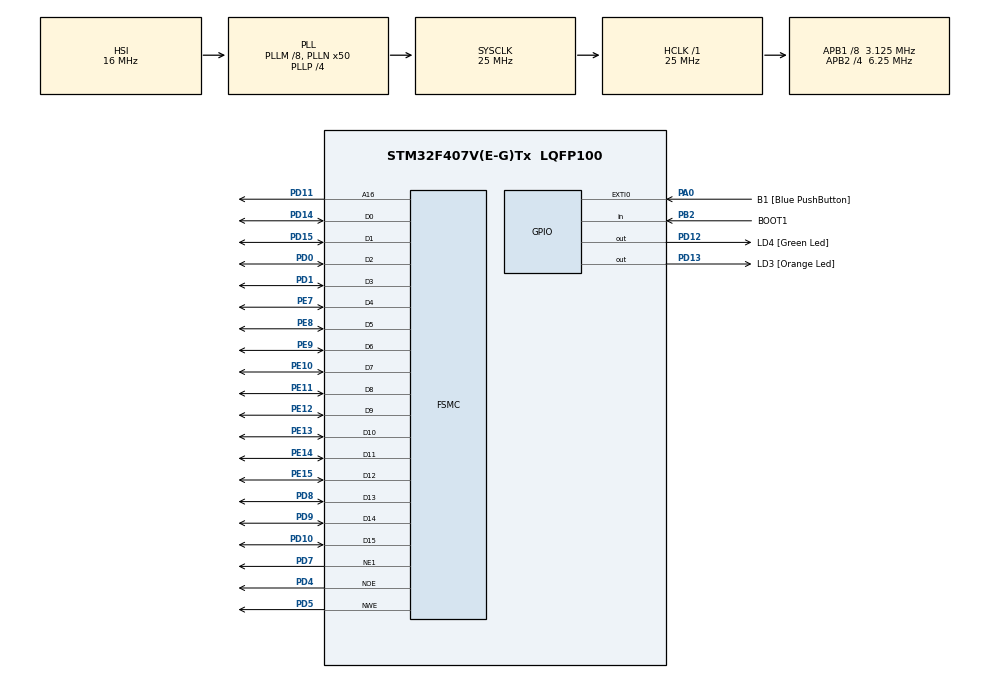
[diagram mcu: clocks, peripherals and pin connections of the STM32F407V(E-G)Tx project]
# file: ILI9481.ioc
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FSMC.AddressSetupTime1=5
FSMC.BusTurnAroundDuration1=0
FSMC.DataSetupTime1=9
Mcu.Family=STM32F4
Mcu.Name=STM32F407V(E-G)Tx
Mcu.Package=LQFP100
NVIC.PriorityGroup=NVIC_PRIORITYGROUP_0
PA0-WKUP.GPIO_Label=B1 [Blue PushButton]
PA0-WKUP.GPIO_ModeDefaultEXTI=GPIO_MODE_EVT_RISING
PA0-WKUP.GPIO_PuPd=GPIO_NOPULL
PA0-WKUP.Signal=GPXTI0
PB2.GPIO_Label=BOOT1
PB2.GPIO_Mode=GPIO_MODE_INPUT
PB2.GPIO_PuPd=GPIO_NOPULL
PB2.Signal=GPIO_Input
PD0.Mode=16b-d1
PD0.Signal=FSMC_D2
PD1.Mode=16b-d1
PD1.Signal=FSMC_D3
PD10.Mode=16b-d1
PD10.Signal=FSMC_D15
PD11.Mode=A16_1
PD11.Signal=FSMC_A16
PD12.GPIO_Label=LD4 [Green Led]
PD12.GPIO_PuPd=GPIO_NOPULL
PD12.GPIO_Speed=GPIO_SPEED_FREQ_LOW
PD12.Signal=GPIO_Output
PD13.GPIO_Label=LD3 [Orange Led]
PD13.GPIO_PuPd=GPIO_NOPULL
PD13.GPIO_Speed=GPIO_SPEED_FREQ_LOW
PD13.Signal=GPIO_Output
PD14.Mode=16b-d1
PD14.Signal=FSMC_D0
PD15.Mode=16b-d1
PD15.Signal=FSMC_D1
PD4.Mode=Lcd1
PD4.Signal=FSMC_NOE
PD5.Mode=Lcd1
PD5.Signal=FSMC_NWE
PD7.Mode=NorPsramChipSelect1_1
PD7.Signal=FSMC_NE1
PD8.Mode=16b-d1
PD8.Signal=FSMC_D13
PD9.Mode=16b-d1
PD9.Signal=FSMC_D14
PE10.Mode=16b-d1
PE10.Signal=FSMC_D7
PE11.Mode=16b-d1
PE11.Signal=FSMC_D8
PE12.Mode=16b-d1
PE12.Signal=FSMC_D9
PE13.Mode=16b-d1
PE13.Signal=FSMC_D10
PE14.Mode=16b-d1
PE14.Signal=FSMC_D11
PE15.Mode=16b-d1
PE15.Signal=FSMC_D12
PE7.Mode=16b-d1
PE7.Signal=FSMC_D4
PE8.Mode=16b-d1
PE8.Signal=FSMC_D5
PE9.Mode=16b-d1
PE9.Signal=FSMC_D6
ProjectManager.HeapSize=0x200
ProjectManager.StackSize=0x400
ProjectManager.TargetToolchain=SW4STM32
RCC.48MHZClocksFreq_Value=14285714.285714285
RCC.AHBFreq_Value=25000000
RCC.APB1CLKDivider=RCC_HCLK_DIV8
RCC.APB1Freq_Value=3125000
RCC.APB1TimFreq_Value=6250000
RCC.APB2CLKDivider=RCC_HCLK_DIV4
RCC.APB2Freq_Value=6250000
RCC.APB2TimFreq_Value=12500000
RCC.CortexFreq_Value=25000000
RCC.HCLKFreq_Value=25000000
RCC.HSE_VALUE=8000000
RCC.HSI_VALUE=16000000
RCC.LSE_VALUE=32768
RCC.PLLM=8
RCC.PLLN=50
RCC.PLLP=RCC_PLLP_DIV4
RCC.PLLQ=7
RCC.SYSCLKFreq_VALUE=25000000
RCC.SYSCLKSource=RCC_SYSCLKSOURCE_PLLCLK
RCC.VCOOutputFreq_Value=100000000
VP_CRC_VS_CRC.Mode=CRC_Activate
board=STM32F4DISCOVERY

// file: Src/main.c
/**
  ******************************************************************************
  * File Name          : main.c
  * Description        : Main program body
  ******************************************************************************
  ** This notice applies to any and all portions of this file
  * that are not between comment pairs USER CODE BEGIN and
  * USER CODE END. Other portions of this file, whether
  * inserted by the user or by software development tools
  * are owned by their respective copyright owners.
  *
  * COPYRIGHT(c) 2017 STMicroelectronics
  *
  * Redistribution and use in source and binary forms, with or without modification,
  * are permitted provided that the following conditions are met:
  *   1. Redistributions of source code must retain the above copyright notice,
  *      this list of conditions and the following disclaimer.
  *   2. Redistributions in binary form must reproduce the above copyright notice,
  *      this list of conditions and the following disclaimer in the documentation
  *      and/or other materials provided with the distribution.
  *   3. Neither the name of STMicroelectronics nor the names of its contributors
  *      may be used to endorse or promote products derived from this software
  *      without specific prior written permission.
  *
  * THIS SOFTWARE IS PROVIDED BY THE COPYRIGHT HOLDERS AND CONTRIBUTORS "AS IS"
  * AND ANY EXPRESS OR IMPLIED WARRANTIES, INCLUDING, BUT NOT LIMITED TO, THE
  * IMPLIED WARRANTIES OF MERCHANTABILITY AND FITNESS FOR A PARTICULAR PURPOSE ARE
  * DISCLAIMED. IN NO EVENT SHALL THE COPYRIGHT HOLDER OR CONTRIBUTORS BE LIABLE
  * FOR ANY DIRECT, INDIRECT, INCIDENTAL, SPECIAL, EXEMPLARY, OR CONSEQUENTIAL
  * DAMAGES (INCLUDING, BUT NOT LIMITED TO, PROCUREMENT OF SUBSTITUTE GOODS OR
  * SERVICES; LOSS OF USE, DATA, OR PROFITS; OR BUSINESS INTERRUPTION) HOWEVER
  * CAUSED AND ON ANY THEORY OF LIABILITY, WHETHER IN CONTRACT, STRICT LIABILITY,
  * OR TORT (INCLUDING NEGLIGENCE OR OTHERWISE) ARISING IN ANY WAY OUT OF THE USE
  * OF THIS SOFTWARE, EVEN IF ADVISED OF THE POSSIBILITY OF SUCH DAMAGE.
  *
  ******************************************************************************
  */

#include "main.h"
#include "stm32f4xx_hal.h"

/* USER CODE BEGIN Includes */
#include "ili9481.h"
#include "GUI.h"
/* USER CODE END Includes */

CRC_HandleTypeDef hcrc;

SRAM_HandleTypeDef hsram1;

/* USER CODE BEGIN PV */
/* Private variables ---------------------------------------------------------*/

/* USER CODE END PV */

void SystemClock_Config(void);
static void MX_GPIO_Init(void);
static void MX_FSMC_Init(void);
static void MX_CRC_Init(void);

/* USER CODE BEGIN PFP */
/* Private function prototypes -----------------------------------------------*/

/* USER CODE END PFP */

/* USER CODE BEGIN 0 */
LCD_DrvTypeDef  *LcdDrv;

/* USER CODE END 0 */

int main(void)
{

  /* MCU Configuration----------------------------------------------------------*/

  /* Reset of all peripherals, Initializes the Flash interface and the Systick. */
  HAL_Init();

  /* USER CODE BEGIN Init */
  int xPos, yPos;
  LcdDrv = &ili9481_drv;
  /* USER CODE END Init */

  /* Configure the system clock */
  SystemClock_Config();

  /* Initialize all configured peripherals */
  MX_GPIO_Init();
  MX_FSMC_Init();
  MX_CRC_Init();

  /* USER CODE BEGIN 2 */

  HAL_GPIO_WritePin(GPIOD, GPIO_PIN_13, GPIO_PIN_SET);
  HAL_GPIO_WritePin(GPIOD, GPIO_PIN_12, GPIO_PIN_SET);
  HAL_GPIO_WritePin(GPIOD, GPIO_PIN_4, GPIO_PIN_SET);
  HAL_GPIO_WritePin(GPIOD, GPIO_PIN_5, GPIO_PIN_SET);
  HAL_GPIO_WritePin(GPIOD, GPIO_PIN_7, GPIO_PIN_SET);
  HAL_GPIO_WritePin(GPIOD, GPIO_PIN_3, GPIO_PIN_RESET);
  HAL_GPIO_WritePin(GPIOD, GPIO_PIN_6, GPIO_PIN_SET);

  	  LcdDrv->Init();
	GUI_Init();
	xPos = LCD_GetXSize() / 2;
	 yPos = LCD_GetYSize() / 3;
	 GUI_SetFont(GUI_FONT_COMIC24B_ASCII);
	 GUI_DispStringHCenterAt("Hello world!", xPos, yPos);

	/* Start Demo */
	GUIDEMO_Main();
  /* USER CODE END 2 */

  /* Infinite loop */
	while (1)
	{

	}

}

/** System Clock Configuration
*/
void SystemClock_Config(void)
{

  RCC_OscInitTypeDef RCC_OscInitStruct;
  RCC_ClkInitTypeDef RCC_ClkInitStruct;

    /**Configure the main internal regulator output voltage
    */
  __HAL_RCC_PWR_CLK_ENABLE();

  __HAL_PWR_VOLTAGESCALING_CONFIG(PWR_REGULATOR_VOLTAGE_SCALE1);

    /**Initializes the CPU, AHB and APB busses clocks
    */
  RCC_OscInitStruct.OscillatorType = RCC_OSCILLATORTYPE_HSI;
  RCC_OscInitStruct.HSIState = RCC_HSI_ON;
  RCC_OscInitStruct.HSICalibrationValue = 16;
  RCC_OscInitStruct.PLL.PLLState = RCC_PLL_ON;
  RCC_OscInitStruct.PLL.PLLSource = RCC_PLLSOURCE_HSI;
  RCC_OscInitStruct.PLL.PLLM = 8;
  RCC_OscInitStruct.PLL.PLLN = 50;
  RCC_OscInitStruct.PLL.PLLP = RCC_PLLP_DIV4;
  RCC_OscInitStruct.PLL.PLLQ = 7;
  if (HAL_RCC_OscConfig(&RCC_OscInitStruct) != HAL_OK)
  {
    _Error_Handler(__FILE__, __LINE__);
  }

    /**Initializes the CPU, AHB and APB busses clocks
    */
  RCC_ClkInitStruct.ClockType = RCC_CLOCKTYPE_HCLK|RCC_CLOCKTYPE_SYSCLK
                              |RCC_CLOCKTYPE_PCLK1|RCC_CLOCKTYPE_PCLK2;
  RCC_ClkInitStruct.SYSCLKSource = RCC_SYSCLKSOURCE_PLLCLK;
  RCC_ClkInitStruct.AHBCLKDivider = RCC_SYSCLK_DIV1;
  RCC_ClkInitStruct.APB1CLKDivider = RCC_HCLK_DIV8;
  RCC_ClkInitStruct.APB2CLKDivider = RCC_HCLK_DIV4;

  if (HAL_RCC_ClockConfig(&RCC_ClkInitStruct, FLASH_LATENCY_0) != HAL_OK)
  {
    _Error_Handler(__FILE__, __LINE__);
  }

    /**Configure the Systick interrupt time
    */
  HAL_SYSTICK_Config(HAL_RCC_GetHCLKFreq()/1000);

    /**Configure the Systick
    */
  HAL_SYSTICK_CLKSourceConfig(SYSTICK_CLKSOURCE_HCLK);

  /* SysTick_IRQn interrupt configuration */
  HAL_NVIC_SetPriority(SysTick_IRQn, 0, 0);
}

/* CRC init function */
static void MX_CRC_Init(void)
{

  hcrc.Instance = CRC;
  if (HAL_CRC_Init(&hcrc) != HAL_OK)
  {
    _Error_Handler(__FILE__, __LINE__);
  }

}

/** Configure pins as
        * Analog
        * Input
        * Output
        * EVENT_OUT
        * EXTI
*/
static void MX_GPIO_Init(void)
{

  GPIO_InitTypeDef GPIO_InitStruct;

  /* GPIO Ports Clock Enable */
  __HAL_RCC_GPIOA_CLK_ENABLE();
  __HAL_RCC_GPIOB_CLK_ENABLE();
  __HAL_RCC_GPIOE_CLK_ENABLE();
  __HAL_RCC_GPIOD_CLK_ENABLE();

  /*Configure GPIO pin Output Level */
  HAL_GPIO_WritePin(GPIOD, LD4_Pin|LD3_Pin, GPIO_PIN_RESET);

  /*Configure GPIO pin : B1_Pin */
  GPIO_InitStruct.Pin = B1_Pin;
  GPIO_InitStruct.Mode = GPIO_MODE_EVT_RISING;
  GPIO_InitStruct.Pull = GPIO_NOPULL;
  HAL_GPIO_Init(B1_GPIO_Port, &GPIO_InitStruct);

  /*Configure GPIO pin : BOOT1_Pin */
  GPIO_InitStruct.Pin = BOOT1_Pin;
  GPIO_InitStruct.Mode = GPIO_MODE_INPUT;
  GPIO_InitStruct.Pull = GPIO_NOPULL;
  HAL_GPIO_Init(BOOT1_GPIO_Port, &GPIO_InitStruct);

  /*Configure GPIO pins : LD4_Pin LD3_Pin */
  GPIO_InitStruct.Pin = LD4_Pin|LD3_Pin;
  GPIO_InitStruct.Mode = GPIO_MODE_OUTPUT_PP;
  GPIO_InitStruct.Pull = GPIO_NOPULL;
  GPIO_InitStruct.Speed = GPIO_SPEED_FREQ_LOW;
  HAL_GPIO_Init(GPIOD, &GPIO_InitStruct);

}

/* FSMC initialization function */
static void MX_FSMC_Init(void)
{
  FSMC_NORSRAM_TimingTypeDef Timing;

  /** Perform the SRAM1 memory initialization sequence
  */
  hsram1.Instance = FSMC_NORSRAM_DEVICE;
  hsram1.Extended = FSMC_NORSRAM_EXTENDED_DEVICE;
  /* hsram1.Init */
  hsram1.Init.NSBank = FSMC_NORSRAM_BANK1;
  hsram1.Init.DataAddressMux = FSMC_DATA_ADDRESS_MUX_DISABLE;
  hsram1.Init.MemoryType = FSMC_MEMORY_TYPE_SRAM;
  hsram1.Init.MemoryDataWidth = FSMC_NORSRAM_MEM_BUS_WIDTH_16;
  hsram1.Init.BurstAccessMode = FSMC_BURST_ACCESS_MODE_DISABLE;
  hsram1.Init.WaitSignalPolarity = FSMC_WAIT_SIGNAL_POLARITY_LOW;
  hsram1.Init.WrapMode = FSMC_WRAP_MODE_DISABLE;
  hsram1.Init.WaitSignalActive = FSMC_WAIT_TIMING_BEFORE_WS;
  hsram1.Init.WriteOperation = FSMC_WRITE_OPERATION_ENABLE;
  hsram1.Init.WaitSignal = FSMC_WAIT_SIGNAL_DISABLE;
  hsram1.Init.ExtendedMode = FSMC_EXTENDED_MODE_DISABLE;
  hsram1.Init.AsynchronousWait = FSMC_ASYNCHRONOUS_WAIT_DISABLE;
  hsram1.Init.WriteBurst = FSMC_WRITE_BURST_DISABLE;
  hsram1.Init.PageSize = FSMC_PAGE_SIZE_NONE;
  /* Timing */
  Timing.AddressSetupTime = 5;
  Timing.AddressHoldTime = 15;
  Timing.DataSetupTime = 9;
  Timing.BusTurnAroundDuration = 0;
  Timing.CLKDivision = 16;
  Timing.DataLatency = 17;
  Timing.AccessMode = FSMC_ACCESS_MODE_A;
  /* ExtTiming */

  if (HAL_SRAM_Init(&hsram1, &Timing, NULL) != HAL_OK)
  {
    _Error_Handler(__FILE__, __LINE__);
  }

}

/* USER CODE BEGIN 4 */
//LCD_IO_Init() {
//	GPIO_SetBits(GPIOE, GPIO_PIN_1);
//	delay_nms(20);
//	GPIO_ResetBits(GPIOE, GPIO_PIN_1);
//	delay_nms(20);
//	GPIO_SetBits(GPIOE, GPIO_PIN_1);
//	delay_nms(20);
//}

void LCD_IO_WriteReg(uint8_t Reg) {
	LCD_REG = Reg;
}

void LCD_IO_WriteData(uint16_t RegValue){
	LCD_RAM = RegValue;
}
/* USER CODE END 4 */

void _Error_Handler(char * file, int line)
{
	while(1)
	{
	}
}

/************************ (C) COPYRIGHT STMicroelectronics *****END OF FILE****/
